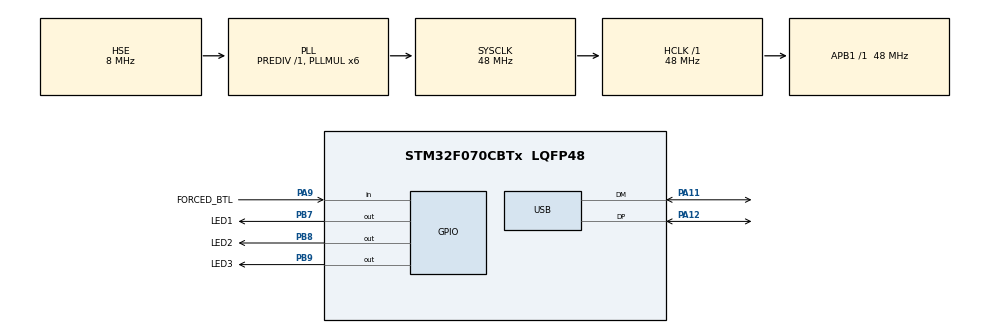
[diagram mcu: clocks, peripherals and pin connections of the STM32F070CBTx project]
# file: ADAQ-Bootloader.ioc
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IWDG.Prescaler=IWDG_PRESCALER_256
IWDG.Reload=312
IWDG.Window=312
Mcu.Family=STM32F0
Mcu.Name=STM32F070CBTx
Mcu.Package=LQFP48
NVIC.USB_IRQn=true\:0\:0\:false\:false\:true\:false\:true
PA11.Mode=Device
PA11.Signal=USB_DM
PA12.Mode=Device
PA12.Signal=USB_DP
PA13.Mode=Serial_Wire
PA13.Signal=SYS_SWDIO
PA14.Mode=Serial_Wire
PA14.Signal=SYS_SWCLK
PA9.GPIO_Label=FORCED_BTL
PA9.GPIO_PuPd=GPIO_PULLDOWN
PA9.Signal=GPIO_Input
PB7.GPIO_Label=LED1
PB7.Signal=GPIO_Output
PB8.GPIO_Label=LED2
PB8.Signal=GPIO_Output
PB9.GPIO_Label=LED3
PB9.Signal=GPIO_Output
PF0-OSC_IN.Mode=HSE-External-Oscillator
PF0-OSC_IN.Signal=RCC_OSC_IN
PF1-OSC_OUT.Mode=HSE-External-Oscillator
PF1-OSC_OUT.Signal=RCC_OSC_OUT
ProjectManager.HeapSize=0x000
ProjectManager.StackSize=0x400
ProjectManager.TargetToolchain=STM32CubeIDE
RCC.AHBFreq_Value=48000000
RCC.APB1Freq_Value=48000000
RCC.APB1TimFreq_Value=48000000
RCC.HCLKFreq_Value=48000000
RCC.PLLMUL=RCC_PLL_MUL6
RCC.SYSCLKFreq_VALUE=48000000
RCC.SYSCLKSource=RCC_SYSCLKSOURCE_PLLCLK
USB_DEVICE.APP_RX_DATA_SIZE=256
USB_DEVICE.APP_TX_DATA_SIZE=256
USB_DEVICE.CLASS_NAME_FS=CDC
USB_DEVICE.MANUFACTURER_STRING=STMicroelectronics
USB_DEVICE.PRODUCT_STRING_CDC_FS=STM32 Virtual ComPort
USB_DEVICE.USBD_MAX_STR_DESC_SIZ=256
USB_DEVICE.VirtualMode=Cdc
USB_DEVICE.VirtualModeFS=Cdc_FS
VP_IWDG_VS_IWDG.Mode=IWDG_Activate
VP_USB_DEVICE_VS_USB_DEVICE_CDC_FS.Mode=CDC_FS
board=custom

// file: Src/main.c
/* USER CODE BEGIN Header */
/**
  ******************************************************************************
  * @file           : main.c
  * @brief          : Main program body
  ******************************************************************************
  * @attention
  *
  * <h2><center>&copy; Copyright (c) 2019 STMicroelectronics.
  * All rights reserved.</center></h2>
  *
  * This software component is licensed by ST under Ultimate Liberty license
  * SLA0044, the "License"; You may not use this file except in compliance with
  * the License. You may obtain a copy of the License at:
  *                             www.st.com/SLA0044
  *
  ******************************************************************************
  */
/* USER CODE END Header */

#include "main.h"
#include "iwdg.h"
#include "usb_device.h"
#include "gpio.h"

/* USER CODE BEGIN Includes */

#include <string.h>

#include "usbd_cdc_if.h"

#include "btl_flash_operations.h"
#include "btl_com.h"

/* USER CODE END Includes */

/* USER CODE BEGIN PV */

/* Communication operation */
com_t rx;
com_t tx;

uint8_t txBuffer[ 256 ] = { 0 };

/* USER CODE END PV */

void SystemClock_Config(void);

int main(void)
{
  /* USER CODE BEGIN 1 */

	uint32_t tsFor100ms = 0;
	uint8_t comTxTrigger = 0;
	int8_t updFlagCheckRetVal = 0;

  /* USER CODE END 1 */

  /* MCU Configuration--------------------------------------------------------*/

  /* Reset of all peripherals, Initializes the Flash interface and the Systick. */
  HAL_Init();

  /* USER CODE BEGIN Init */

  /* Com. init */
  rx.index = 0;
  tx.index = 0;

  /* USER CODE END Init */

  /* Configure the system clock */
  SystemClock_Config();

  /* USER CODE BEGIN SysInit */

  MX_GPIO_Init();

  updFlagCheckRetVal = updFlagCheck ( );

  if ( updFlagCheckRetVal == BTL_UPD )
  {

  }
  else if ( updFlagCheckRetVal == BTL_OK )
  {
      jumpToApplication ( ADR_APP_BEGIN );
  }
  else
  {
      LED1_HIGH;
      LED2_HIGH;
      LED3_HIGH
      while ( 1 );
  }

  /* USER CODE END SysInit */

  /* Initialize all configured peripherals */
  MX_GPIO_Init();
  MX_USB_DEVICE_Init();
  MX_IWDG_Init();

  /* Infinite loop */
  /* USER CODE BEGIN WHILE */
  while (1)
  {
      HAL_IWDG_Refresh ( &hiwdg );

	  comEvaluate ( rx.buffer, &rx.index, tx.buffer, &tx.index, &comTxTrigger );

	  if ( comTxTrigger )
	  {
	      if ( CDC_Transmit_FS ( tx.buffer, tx.index ) == USBD_OK )
	      {
	          /* Intentionally blank */
	      }

	      comTxTrigger = 0;
	  }

	  if ( ( HAL_GetTick ( ) - tsFor100ms ) > 99 )
	  {
		  tsFor100ms = HAL_GetTick ( );

		  /* CPU LED BLINKING */
		  LED3_TOGGLE;
	  }

    /* USER CODE END WHILE */

  }
}

void SystemClock_Config(void)
{
  RCC_OscInitTypeDef RCC_OscInitStruct = {0};
  RCC_ClkInitTypeDef RCC_ClkInitStruct = {0};
  RCC_PeriphCLKInitTypeDef PeriphClkInit = {0};

  /** Initializes the CPU, AHB and APB busses clocks
  */
  RCC_OscInitStruct.OscillatorType = RCC_OSCILLATORTYPE_LSI|RCC_OSCILLATORTYPE_HSE;
  RCC_OscInitStruct.HSEState = RCC_HSE_ON;
  RCC_OscInitStruct.LSIState = RCC_LSI_ON;
  RCC_OscInitStruct.PLL.PLLState = RCC_PLL_ON;
  RCC_OscInitStruct.PLL.PLLSource = RCC_PLLSOURCE_HSE;
  RCC_OscInitStruct.PLL.PLLMUL = RCC_PLL_MUL6;
  RCC_OscInitStruct.PLL.PREDIV = RCC_PREDIV_DIV1;
  if (HAL_RCC_OscConfig(&RCC_OscInitStruct) != HAL_OK)
  {
    Error_Handler();
  }
  /** Initializes the CPU, AHB and APB busses clocks
  */
  RCC_ClkInitStruct.ClockType = RCC_CLOCKTYPE_HCLK|RCC_CLOCKTYPE_SYSCLK
                              |RCC_CLOCKTYPE_PCLK1;
  RCC_ClkInitStruct.SYSCLKSource = RCC_SYSCLKSOURCE_PLLCLK;
  RCC_ClkInitStruct.AHBCLKDivider = RCC_SYSCLK_DIV1;
  RCC_ClkInitStruct.APB1CLKDivider = RCC_HCLK_DIV1;

  if (HAL_RCC_ClockConfig(&RCC_ClkInitStruct, FLASH_LATENCY_1) != HAL_OK)
  {
    Error_Handler();
  }
  PeriphClkInit.PeriphClockSelection = RCC_PERIPHCLK_USB;
  PeriphClkInit.UsbClockSelection = RCC_USBCLKSOURCE_PLL;

  if (HAL_RCCEx_PeriphCLKConfig(&PeriphClkInit) != HAL_OK)
  {
    Error_Handler();
  }
}

/* USER CODE BEGIN 4 */

/*
 * @about: Calculates 32-bits CRC between address range. CRC begin macro defined in CRC_BEGIN.
 */
uint32_t crcCalculator ( uint32_t adrBegin, uint32_t adrEnd )
{
    uint32_t calculatedChecksum = CRC_BEGIN;

    uint32_t *ptr32;

    uint32_t adrCounter = adrBegin;

    for ( ; adrCounter < adrEnd; adrCounter += 4 )
    {
        ptr32 = ( uint32_t* )adrCounter;

        calculatedChecksum ^= *ptr32;
    }

    return ( calculatedChecksum );
}

/*
 * @about:
 */
int8_t btlCrcControl ( void )
{
	int8_t retVal = BTL_ER;

	uint32_t *ptr32;

	/* Calculates bootloader CRC value */
	uint32_t calculatedCrc = crcCalculator ( ADR_BTL_BEGIN, ADR_BTL_END );

	/* Reads bootloader CRC value from flash area */
	/* ptr32 = ( uint32_t* )( ADR_BTL_CRC ); */
	ptr32 = ( uint32_t* ) ADR_BTL_CRC;

	if ( *ptr32 == 0xFFFFFFFF )
	{
	    HAL_FLASH_Unlock ( );

        HAL_FLASH_Program ( FLASH_TYPEPROGRAM_WORD, ADR_BTL_CRC, calculatedCrc );

        HAL_FLASH_Lock ( );

        retVal = BTL_OK;
	}
	else
	{
	    if ( calculatedCrc == *ptr32 )
	    {
	        /* Bootloader side CRC OK */
	        retVal = BTL_OK;
	    }
	    else
	    {
	        /* Bootloader side CRC Error */
	        retVal = BTL_ER;
	    }
	}

	return ( retVal );
}

/*
 * @about:
 */
int8_t appCrcControl ( void )
{
    int8_t retVal = BTL_OK;

    return ( retVal );
}

/*
 * @about:
 */
int8_t updFlagCheck ( void )
{
	int8_t retVal = BTL_ER;

	uint32_t *ptr32;

	if ( HAL_GPIO_ReadPin ( FORCED_BTL_GPIO_Port, FORCED_BTL_Pin ) == GPIO_PIN_SET )
    {
        retVal = BTL_UPD;
    }
    else
    {
        ptr32 = ( uint32_t* ) ADR_UPDATE_FLAG;

        if ( *ptr32 != 0xFFFFFFFF )
        {
            retVal = BTL_UPD;
        }
        else
        {
            ptr32 = ( uint32_t* ) ADR_APP_BEGIN;

            if ( *ptr32 == 0xFFFFFFFF )
            {
                retVal = BTL_UPD;
            }
            else
            {
                retVal = BTL_OK;
            }
        }
    }

	return ( retVal );
}

/* USER CODE END 4 */

void Error_Handler(void)
{
}

/************************ (C) COPYRIGHT STMicroelectronics *****END OF FILE****/
